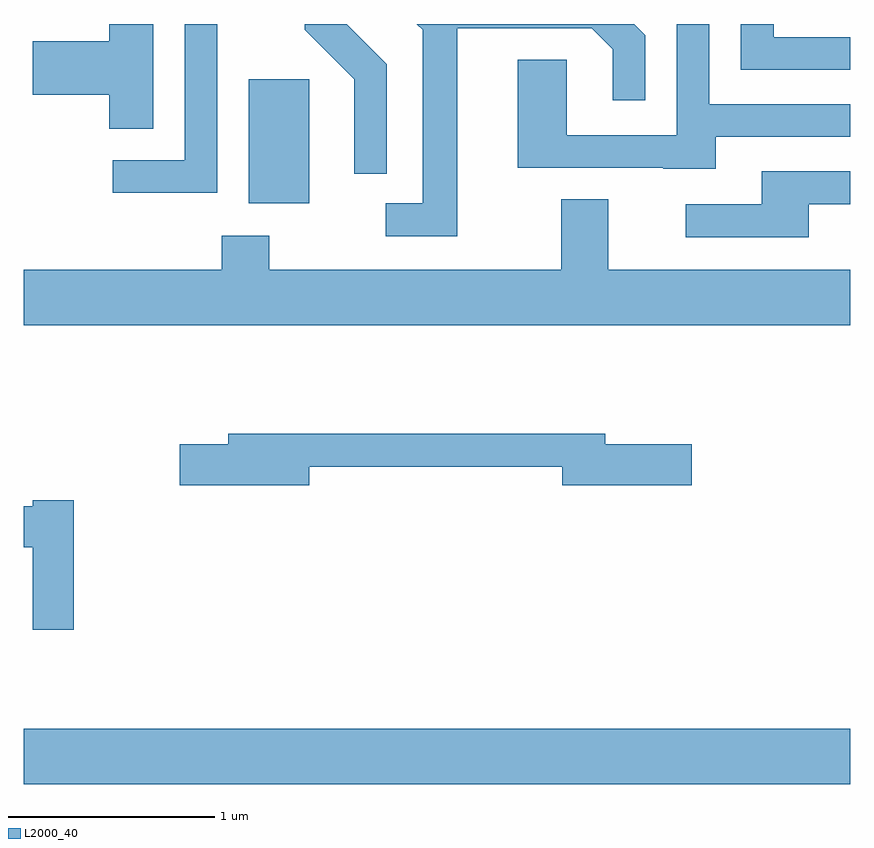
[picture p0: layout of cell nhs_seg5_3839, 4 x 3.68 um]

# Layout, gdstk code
import gdstk
lib = gdstk.Library(unit=1e-6, precision=1e-09)
def R(c, l, rs):  # rectangles x0, y0, x1, y1
    for r in rs: c.add(gdstk.rectangle(r[:2], r[2:], *l))
def P(c, l, *ps):  # polygons
    for p in ps: c.add(gdstk.Polygon(p, *l))
L2000_40 = (2000, 40)

nhs_seg5_3839 = lib.new_cell('nhs_seg5_3839')
R(nhs_seg5_3839, L2000_40, [(299.611,1412.396,303.611,1412.664), (300.701,1415.206,300.994,1415.804)])
P(nhs_seg5_3839, L2000_40, [(302.959,1415.526),(303.611,1415.526),(303.611,1415.684),(302.929,1415.684),(302.929,1416.072),(302.771,1416.072),(302.771,1415.534),(302.239,1415.534),(302.239,1415.899),(302.001,1415.899),(302.001,1415.376),(302.705,1415.376),(302.705,1415.371),(302.959,1415.371)],
  [(300.549,1416.072),(300.391,1416.072),(300.391,1415.414),(300.043,1415.414),(300.043,1415.256),(300.549,1415.256)],
  [(301.369,1415.877),(301.174,1416.072),(300.971,1416.072),(300.971,1416.044),(301.211,1415.804),(301.211,1415.348),(301.369,1415.348)],
  [(303.611,1416.009),(303.239,1416.009),(303.239,1416.072),(303.081,1416.072),(303.081,1415.851),(303.611,1415.851)],
  [(300.239,1416.072),(300.026,1416.072),(300.026,1415.989),(299.656,1415.989),(299.656,1415.731),(300.026,1415.731),(300.026,1415.566),(300.239,1415.566)],
  [(301.709,1416.051),(302.359,1416.051),(302.461,1415.949),(302.461,1415.703),(302.619,1415.703),(302.619,1416.017),(302.564,1416.072),(301.513,1416.072),(301.541,1416.044),(301.541,1415.204),(301.363,1415.204),(301.363,1415.046),(301.709,1415.046)],
  [(303.409,1415.201),(303.611,1415.201),(303.611,1415.359),(303.181,1415.359),(303.181,1415.199),(302.813,1415.199),(302.813,1415.041),(303.409,1415.041)],
  [(303.611,1414.884),(302.439,1414.884),(302.439,1415.224),(302.211,1415.224),(302.211,1414.884),(300.799,1414.884),(300.799,1415.049),(300.571,1415.049),(300.571,1414.884),(299.611,1414.884),(299.611,1414.616),(303.611,1414.616)],
  [(300.994,1413.931),(302.216,1413.931),(302.216,1413.841),(302.844,1413.841),(302.844,1414.039),(302.424,1414.039),(302.424,1414.089),(300.601,1414.089),(300.601,1414.039),(300.366,1414.039),(300.366,1413.841),(300.994,1413.841)],
  [(299.854,1413.769),(299.656,1413.769),(299.656,1413.739),(299.611,1413.739),(299.611,1413.541),(299.656,1413.541),(299.656,1413.141),(299.854,1413.141)])

lib.write_gds('nhs_seg5_3839.gds')
